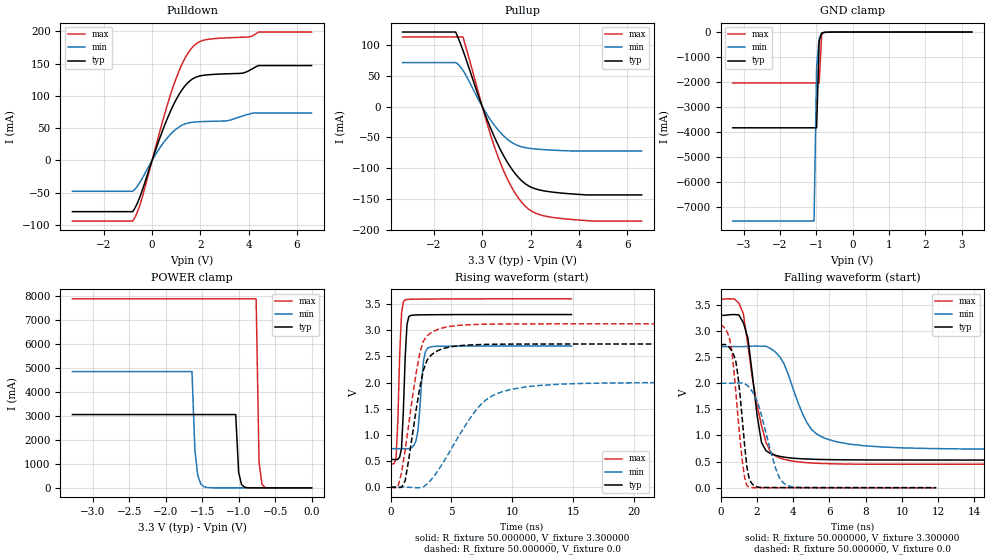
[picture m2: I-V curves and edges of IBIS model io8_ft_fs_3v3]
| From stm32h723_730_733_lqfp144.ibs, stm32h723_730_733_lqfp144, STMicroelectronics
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|   Model io8_ft_fs_3v3
[Model]  io8_ft_fs_3v3
Model_type I/O
Polarity   Non-Inverting
Enable   Active-Low
Vinl =   0.990000V
Vinh =   2.310000V
Vmeas =  1.650000V
Cref =   50.000000pF
Rref =   100.000000M
Vref =   0.0V
C_comp   3.322900pF   3.276700pF   3.383400pF
[Temperature Range]   25.000000   0.140000k   -40.000000
[Pullup Reference]   3.300000V   2.700000V   3.600000V
[Pulldown Reference]   0.0V   0.0V   0.0V
[POWER Clamp Reference]   3.300000V   2.700000V   3.600000V
[GND Clamp Reference]   0.0V   0.0V   0.0V
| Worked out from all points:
|   slope of the pulldown table from 0 to 0.495 V, typ, clamps not added: 9.48 ohm
|   slope of the pullup table from 0 to 0.495 V, typ, clamps not added: 10.2 ohm
|   GND clamp passes 1 mA (typ) near -0.48 V on its own axis
|   POWER clamp passes 1 mA (typ) near -0.83 V on its own axis
|   rising waveform, R_fixture 50.000000, V_fixture 3.300000: 20-80 % time 290ps typ, 397ps min, 274ps max; typ from 0.528 V to 3.3 V
|   rising waveform, R_fixture 50.000000, V_fixture 0.0: 20-80 % time 1.15ns typ, 3.37ns min, 1.21ns max; typ from 0 V to 2.74 V
|   falling waveform, R_fixture 50.000000, V_fixture 3.300000: 20-80 % time 608ps typ, 1.42ns min, 940ps max; typ from 3.3 V to 0.528 V
|   falling waveform, R_fixture 50.000000, V_fixture 0.0: 20-80 % time 468ps typ, 938ps min, 511ps max; typ from 2.74 V to 0 V
[Pulldown]
|Voltage   I(typ)   I(min)   I(max)
-3.3V     -79.52mA   -47.96mA   -94.07mA
-800mV    -79.52mA   -47.96mA   -94.07mA
-500mV    -56.24mA   -33.72mA   -68.67mA
300mV     32.59mA    18.22mA    42.24mA
900mV     87.38mA    45.47mA    117.3mA
1.4V      117.2mA    57.03mA    161.1mA
1.8V      128.8mA    59.57mA    180.1mA
2.3V      132.6mA    60.4mA     187.6mA
3.1V      134.2mA    61.41mA    190mA
3.7V      135mA      68.23mA    190.9mA
4.4V      147mA      73.45mA    199mA
6.6V      147mA      73.45mA    199mA
[Pullup]
|Voltage   I(typ)   I(min)   I(max)
-3.3V     121mA      71.43mA    113mA
-1.1V     121mA      71.43mA    113mA
-800mV    91.42mA    58.8mA     113mA
100mV     -10.59mA   -6.73mA    -13.97mA
400mV     -40.13mA   -24.9mA    -52.98mA
700mV     -66.02mA   -39.95mA   -86.56mA
1V        -87.96mA   -51.76mA   -114.4mA
1.3V      -105.8mA   -60.13mA   -136.7mA
1.9V      -128.5mA   -67.6mA    -166.1mA
2.4V      -135.8mA   -69.65mA   -175.9mA
3.3V      -140.7mA   -71.59mA   -182mA
6.6V      -143.6mA   -72.2mA    -186mA
[GND_clamp]
|Voltage   I(typ)   I(min)   I(max)
-3.3V     -3.828A    -7.552A    -2.036A
-1.06V    -3.828A    -7.552A    -2.036A
-990mV    -3.828A    -1.425A    -2.036A
-920mV    -368.6mA   -243.1mA   -2.036A
-850mV    -40.93mA   -46.27mA   -98.44mA
-780mV    -13.14mA   -14.53mA   -15.81mA
-500mV    -1.208mA   -1.769mA   -1.059mA
3.28V     0A         -16.27nA   0A
[POWER_clamp]
|Voltage   I(typ)   I(min)   I(max)
-3.28V    3.058A     4.852A     7.885A
-1.64V    3.058A     4.852A     7.885A
-1.6V     3.058A     1.577A     7.885A
-1.56V    3.058A     512.9mA    7.885A
-1.52V    3.058A     166.8mA    7.885A
-1.04V    3.058A     548.3nA    7.885A
-1V       644.7mA    387.3nA    7.885A
-960mV    135.9mA    332.4nA    7.885A
-760mV    56.56uA    289.2nA    7.885A
-720mV    11.92uA    285.5nA    1.077A
-680mV    2.515uA    281.9nA    147.1mA
0V        0A         47.97nA    0A
[Ramp]
| variable   typ   min   max
dV/dt_r  1.64178/1.14058n   1.19940/3.36636n   1.87242/1.19976n
dV/dt_f  1.66295/0.56873n   1.17934/1.40092n   1.88845/0.91668n
R_load = 50.000000
[Rising Waveform]
R_fixture= 50.000000
V_fixture= 3.300000
V_fixture_min= 2.700000
V_fixture_max= 3.600000
|time   V(typ)   V(min)   V(max)
0s        528.5mV    734.3mV    448.8mV
450.5ps   523.9mV    734.3mV    550.1mV
900.9ps   742.3mV    734.4mV    3.325V
1.201ns   2.49V      733.6mV    3.582V
1.351ns   3.114V     732.7mV    3.588V
1.502ns   3.261V     734.7mV    3.591V
2.102ns   3.292V     897.4mV    3.594V
2.703ns   3.295V     2.401V     3.596V
3.153ns   3.296V     2.672V     3.596V
14.86ns   3.3V       2.7V       3.6V
[Rising Waveform]
R_fixture= 50.000000
V_fixture= 0.0
V_fixture_min= 0.0
V_fixture_max= 0.0
|time   V(typ)   V(min)   V(max)
0s        66.89uV    508.7nV    -3.388mV
600.6ps   -11.94mV   -14.54uV   5.643mV
1.201ns   122.7mV    29.48uV    713.6mV
2.402ns   1.902V     -10.83mV   2.561V
3.003ns   2.429V     60.21mV    2.891V
3.604ns   2.573V     219mV      2.987V
7.207ns   2.724V     1.523V     3.111V
9.309ns   2.733V     1.832V     3.119V
14.11ns   2.736V     1.969V     3.121V
29.73ns   2.736V     1.999V     3.122V
[Falling Waveform]
R_fixture= 50.000000
V_fixture= 3.300000
V_fixture_min= 2.700000
V_fixture_max= 3.600000
|time   V(typ)   V(min)   V(max)
0s        3.3V       2.7V       3.6V
750.8ps   3.314V     2.7V       3.613V
1.251ns   3.157V     2.7V       3.328V
1.502ns   2.861V     2.707V     2.722V
2.252ns   863.2mV    2.709V     1.191V
2.753ns   652.6mV    2.663V     679.8mV
3.253ns   599.7mV    2.509V     569.3mV
5.005ns   544.9mV    1.117V     472.8mV
6.507ns   534.2mV    871mV      454.6mV
24.77ns   528.5mV    734.3mV    448.8mV
[Falling Waveform]
R_fixture= 50.000000
V_fixture= 0.0
V_fixture_min= 0.0
V_fixture_max= 0.0
|time   V(typ)   V(min)   V(max)
0s        2.736V     1.999V     3.122V
480.5ps   2.683V     1.999V     2.865V
840.8ps   2.408V     1.999V     1.809V
1.201ns   1.271V     2.004V     489.3mV
1.441ns   404.4mV    1.964V     43.9mV
1.562ns   186.2mV    1.923V     8.522mV
2.162ns   5.789mV    1.5V       -530uV
3.123ns   2.188mV    281.6mV    -1.808mV
3.604ns   1.72mV     57.71mV    -2.074mV
11.89ns   66.89uV    508.7nV    -3.388mV
